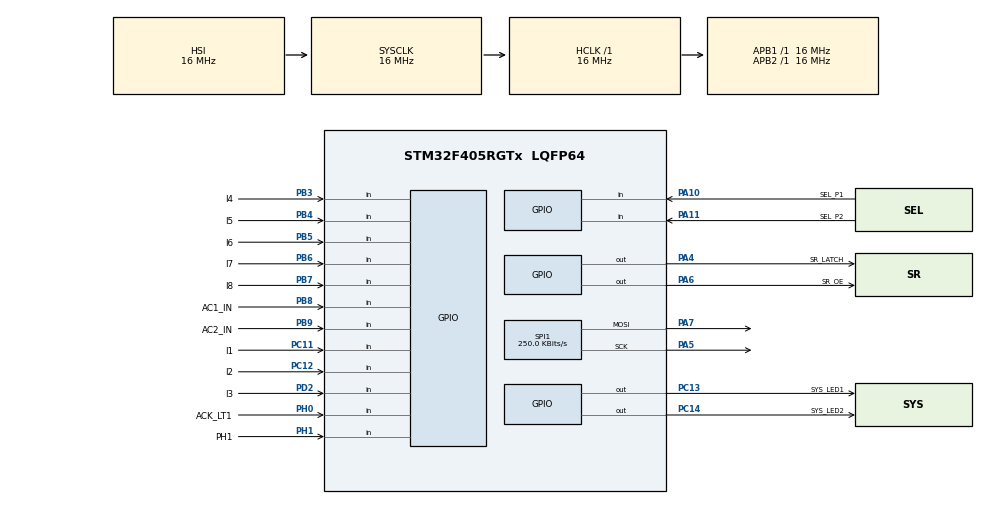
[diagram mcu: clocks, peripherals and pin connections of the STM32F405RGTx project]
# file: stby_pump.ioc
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Mcu.Family=STM32F4
Mcu.Name=STM32F405RGTx
Mcu.Package=LQFP64
NVIC.PriorityGroup=NVIC_PRIORITYGROUP_4
PA10.GPIO_Label=SEL_P1
PA10.GPIO_PuPd=GPIO_PULLUP
PA10.Signal=GPIO_Input
PA11.GPIO_Label=SEL_P2
PA11.GPIO_PuPd=GPIO_PULLUP
PA11.Signal=GPIO_Input
PA13.Mode=Serial_Wire
PA13.Signal=SYS_JTMS-SWDIO
PA14.Mode=Serial_Wire
PA14.Signal=SYS_JTCK-SWCLK
PA4.GPIO_Label=SR_LATCH
PA4.Signal=GPIO_Output
PA5.Mode=TX_Only_Simplex_Unidirect_Master
PA5.Signal=SPI1_SCK
PA6.GPIO_Label=SR_OE
PA6.PinState=GPIO_PIN_SET
PA6.Signal=GPIO_Output
PA7.Mode=TX_Only_Simplex_Unidirect_Master
PA7.Signal=SPI1_MOSI
PB3.GPIO_Label=I4
PB3.Signal=GPIO_Input
PB4.GPIO_Label=I5
PB4.Signal=GPIO_Input
PB5.GPIO_Label=I6
PB5.Signal=GPIO_Input
PB6.GPIO_Label=I7
PB6.Signal=GPIO_Input
PB7.GPIO_Label=I8
PB7.Signal=GPIO_Input
PB8.GPIO_Label=AC1_IN
PB8.Signal=GPIO_Input
PB9.GPIO_Label=AC2_IN
PB9.Signal=GPIO_Input
PC11.GPIO_Label=I1
PC11.Signal=GPIO_Input
PC12.GPIO_Label=I2
PC12.Signal=GPIO_Input
PC13-ANTI_TAMP.GPIO_Label=SYS_LED1
PC13-ANTI_TAMP.Signal=GPIO_Output
PC14-OSC32_IN.GPIO_Label=SYS_LED2
PC14-OSC32_IN.Signal=GPIO_Output
PD2.GPIO_Label=I3
PD2.Signal=GPIO_Input
PH0-OSC_IN.GPIO_Label=ACK_LT1
PH0-OSC_IN.GPIO_PuPd=GPIO_PULLUP
PH0-OSC_IN.Signal=GPIO_Input
PH1-OSC_OUT.GPIO_Label=PH1
PH1-OSC_OUT.GPIO_PuPd=GPIO_PULLUP
PH1-OSC_OUT.Signal=GPIO_Input
ProjectManager.HeapSize=0x200
ProjectManager.StackSize=0x400
ProjectManager.TargetToolchain=STM32CubeIDE
RCC.AHBFreq_Value=16000000
RCC.APB1Freq_Value=16000000
RCC.APB1TimFreq_Value=16000000
RCC.APB2Freq_Value=16000000
RCC.APB2TimFreq_Value=16000000
RCC.CortexFreq_Value=16000000
RCC.HCLKFreq_Value=16000000
RCC.HSE_VALUE=25000000
RCC.HSI_VALUE=16000000
RCC.LSE_VALUE=32768
RCC.SYSCLKFreq_VALUE=16000000
RCC.VCOOutputFreq_Value=192000000
SPI1.BaudRatePrescaler=SPI_BAUDRATEPRESCALER_64
SPI1.CalculateBaudRate=250.0 KBits/s
SPI1.Direction=SPI_DIRECTION_2LINES
SPI1.Mode=SPI_MODE_MASTER
SPI1.VirtualType=VM_MASTER
board=custom

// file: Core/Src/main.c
/* USER CODE BEGIN Header */
/**
 ******************************************************************************
 * @file           : main.c
 * @brief          : Main program body
 ******************************************************************************
 * @attention
 *
 * Copyright (c) 2026 STMicroelectronics.
 * All rights reserved.
 *
 * This software is licensed under terms that can be found in the LICENSE file
 * in the root directory of this software component.
 * If no LICENSE file comes with this software, it is provided AS-IS.
 *
 ******************************************************************************
 */
/* USER CODE END Header */
#include "main.h"

/* USER CODE BEGIN Includes */
#include <string.h>

/* USER CODE END Includes */

/* USER CODE BEGIN PTD */
typedef enum
{
    SELECTOR_OFF = 0,
    SELECTOR_P1,
    SELECTOR_P2,
    SELECTOR_INVALID
} SelectorState_t;

typedef enum
{
    PUMP_STATE_OFF = 0,
    PUMP_STATE_RUNNING
} PumpState_t;

typedef enum
{
    AUTO_STATE_OFF = 0,
    AUTO_STATE_TRY_PRIMARY,
    AUTO_STATE_PRIMARY_RUNNING,
    AUTO_STATE_TRY_SECONDARY,
    AUTO_STATE_SECONDARY_RUNNING,
    AUTO_STATE_ALARM
} AutoState_t;

typedef struct
{
    uint8_t pressure_p1_raw;
    uint8_t rpm_p1_raw;
    uint8_t fb_p1_raw;
    uint8_t pressure_p2_raw;
    uint8_t rpm_p2_raw;
    uint8_t fb_p2_raw;

    uint8_t ac_p1_raw;
    uint8_t ac_p2_raw;

    uint8_t ack_lt1_raw;
    uint8_t sel_p1_raw;
    uint8_t sel_p2_raw;
} RawInputs_t;

typedef struct
{
    uint8_t pressure_p1;
    uint8_t rpm_p1;
    uint8_t fb_p1;
    uint8_t pressure_p2;
    uint8_t rpm_p2;
    uint8_t fb_p2;

    uint8_t ac_p1;
    uint8_t ac_p2;

    uint8_t ack_short;
    uint8_t lamp_test;
    SelectorState_t selector;
} Inputs_t;

typedef struct
{
    uint8_t pump1_cmd;
    uint8_t pump2_cmd;

    uint8_t ind1_system_ready;
    uint8_t ind2_p1_ready;
    uint8_t ind3_p1_on;
    uint8_t ind4_p1_standby;
    uint8_t ind5_p2_ready;
    uint8_t ind6_p2_on;
    uint8_t ind7_p2_standby;
    uint8_t ind8_pressure_low;
    uint8_t ind9_standby_alarm;
} Outputs_t;

typedef struct
{
    PumpState_t state;
    uint32_t state_tick;
} PumpChannel_t;

/* USER CODE END PTD */

/* USER CODE BEGIN PD */

#define INPUT_ACTIVE_STATE GPIO_PIN_SET
#define LED_ON_STATE GPIO_PIN_SET
#define LED_OFF_STATE ((LED_ON_STATE == GPIO_PIN_SET) ? GPIO_PIN_RESET : GPIO_PIN_SET)
#define PIN_IS_ACTIVE(port, pin) (HAL_GPIO_ReadPin((port), (pin)) == (INPUT_ACTIVE_STATE))
#define MAYBE_UNUSED __attribute__((unused))

#define SR_LATCH_GPIO SR_LATCH_GPIO_Port
#define SR_LATCH_PIN SR_LATCH_Pin
#define SR_OE_GPIO SR_OE_GPIO_Port
#define SR_OE_PIN SR_OE_Pin

#define K_ACTIVE_LOW 0

/* ---------------- Configuration ---------------- */
/* Choose one firmware behavior:
   CONTROL_MODE_AUTO   = pressure/RPM-driven automatic controller
   CONTROL_MODE_MANUAL = selector directly forces pump output on/off
   CONTROL_MODE_TEST   = relay and indicator IO test firmware
*/
#define CONTROL_MODE_AUTO 0U
#define CONTROL_MODE_MANUAL 1U
#define CONTROL_MODE_TEST 2U

/* Change only this line to select the firmware behavior. */
#define CONTROL_MODE CONTROL_MODE_AUTO

/* Change this to adjust the output-test repeat time. */
#define OUTPUT_TEST_REPEAT_MS 200U

/* Input polarities: set 1 if active high, 0 if active low */
#define PRESSURE_ACTIVE_LEVEL 0U
#define RPM_ACTIVE_LEVEL 1U
#define AC_ACTIVE_LEVEL 0U
#define FEEDBACK_ACTIVE_LEVEL 0U
#define SELECTOR_ACTIVE_LEVEL 0U
#define ACK_LT1_ACTIVE_LEVEL 0U

/* Timing */
#define LOOP_DELAY_MS 20U
#define T_DEBOUNCE_MS 200U
#define T_RPM_DEBOUNCE_MS 2000U
#define T_ACK_DEBOUNCE_MS 50U
#define T_ACK_LONGPRESS_MS 1500U
#define T_BLINK_MS 500U
#define T_FEEDBACK_TIMEOUT_MS 3000U
#define T_OUTPUT_TEST_STEP_MS OUTPUT_TEST_REPEAT_MS

#define FAULT_P1_FEEDBACK_TIMEOUT_MASK (1UL << 0)
#define FAULT_P2_FEEDBACK_TIMEOUT_MASK (1UL << 1)

/* USER CODE END PD */

SPI_HandleTypeDef hspi1;

/* USER CODE BEGIN PV */

static RawInputs_t g_raw;
static Inputs_t g_in;
static Outputs_t g_out;

static AutoState_t g_auto_state = AUTO_STATE_OFF;
static uint8_t g_alarm_latched = 0;
static uint8_t g_alarm_blink = 0;
static uint32_t g_auto_state_tick = 0U;
static SelectorState_t g_auto_primary_pump = SELECTOR_OFF;
static uint32_t g_auto_failed_mask = 0U;

static uint32_t g_fault_active_mask = 0U;
static uint32_t g_fault_new_mask = 0U;
static uint32_t g_fault_prev_active_mask = 0U;
static uint32_t g_fault_latched_mask = 0U;

static PumpChannel_t g_p1_channel = {PUMP_STATE_OFF, 0U};
static PumpChannel_t g_p2_channel = {PUMP_STATE_OFF, 0U};

static uint8_t g_last_ack_raw = 0;
static uint32_t g_ack_press_tick = 0;
static uint8_t g_lamp_test_active = 0;
static uint8_t g_lamp_test_group_step = 0U;
static uint8_t g_lamp_test_prev_active = 0U;
static uint32_t g_lamp_test_tick = 0U;
static MAYBE_UNUSED uint8_t g_test_relay_step = 0U;
static MAYBE_UNUSED uint8_t g_test_led_step = 0U;
static MAYBE_UNUSED uint32_t g_test_relay_tick = 0U;
static MAYBE_UNUSED uint32_t g_test_led_tick = 0U;
static MAYBE_UNUSED uint8_t g_test_ack_group_size = 1U;
static MAYBE_UNUSED uint8_t g_test_ack_group_index = 0U;
static MAYBE_UNUSED uint8_t g_test_ack_group_pass = 0U;
static MAYBE_UNUSED uint8_t g_test_ack_active_last = 0U;
static uint8_t g_test_sys_led1 = 0U;
static uint8_t g_test_sys_led2 = 0U;

/* Debounced values */
static uint8_t db_pressure_p1 = 0;
static uint8_t db_rpm_p1 = 0;
static uint8_t db_pressure_p2 = 0;
static uint8_t db_rpm_p2 = 0;
static uint8_t db_ac_p1 = 0;
static uint8_t db_ac_p2 = 0;
static uint8_t db_sel_p1 = 0;
static uint8_t db_sel_p2 = 0;
static uint8_t db_fb_p1 = 0;
static uint8_t db_fb_p2 = 0;
static uint8_t db_ack_lt1 = 0;

static uint32_t db_tick_pressure_p1 = 0;
static uint32_t db_tick_rpm_p1 = 0;
static uint32_t db_tick_pressure_p2 = 0;
static uint32_t db_tick_rpm_p2 = 0;
static uint32_t db_tick_ac_p1 = 0;
static uint32_t db_tick_ac_p2 = 0;
static uint32_t db_tick_sel_p1 = 0;
static uint32_t db_tick_sel_p2 = 0;
static uint32_t db_tick_fb_p1 = 0;
static uint32_t db_tick_fb_p2 = 0;
static uint32_t db_tick_ack_lt1 = 0;

/* USER CODE END PV */

void SystemClock_Config(void);
static void MX_GPIO_Init(void);
static void MX_SPI1_Init(void);
/* USER CODE BEGIN PFP */

static void ReadRawInputs(void);
static void ProcessInputs(void);
static void UpdateSysLeds(void);

static void SR_LatchPulse(void);
static void SR_Write24(uint8_t u1, uint8_t u2, uint8_t u3);
static void UpdateOutputs(void);

static uint8_t NormalizeLevel(uint8_t raw_active, uint8_t active_level);
static void DebounceBit(uint8_t raw, uint8_t *db, uint32_t *tick, uint32_t debounce_ms);

static void ClearOutputs(void);
static void RunControlLogic(void);
static MAYBE_UNUSED void RunAutoModeSection(void);
static MAYBE_UNUSED void RunManualModeSection(void);
static MAYBE_UNUSED void RunTestModeSection(void);
static MAYBE_UNUSED void RunOutputTestProgram(void);
static void SetTestIndicatorByOrder(uint8_t index);
static void ApplyLampTestGroupToOutputs(uint8_t group);
static void ApplyLampTestGroupToLedBytes(uint8_t group, uint8_t *led_byte_1, uint8_t *led_byte_2);

static void StopAllPumps(void);
static void EnterPumpChannelState(PumpChannel_t *channel, PumpState_t new_state);
static void PrimeDebouncedInputs(void);

static uint8_t PressureDemandForPump(SelectorState_t pump);
static uint8_t PumpRunRequest(uint8_t pressure_low, uint8_t rpm_active);
static void UpdateAlarmLatch(uint32_t active_mask);
static uint8_t P1Ready(void);
static uint8_t P2Ready(void);
static SelectorState_t OtherPump(SelectorState_t pump);
static uint8_t PumpReady(SelectorState_t pump);
static uint8_t PumpFeedback(SelectorState_t pump);
static uint8_t PumpDemand(SelectorState_t pump);
static uint32_t FeedbackFaultMaskForPump(SelectorState_t pump);
static uint8_t PumpFailedThisCycle(SelectorState_t pump);
static void CommandOnlyPump(SelectorState_t pump);
static void EnterAutoState(AutoState_t new_state);
static void ResetAutoController(void);
static void EnterAutoAlarm(void);

static void ApplyLampTestIfNeeded(void);

/* USER CODE END PFP */

/* USER CODE BEGIN 0 */

static uint8_t NormalizeLevel(uint8_t raw_active, uint8_t active_level)
{
    return active_level ? raw_active : (uint8_t)!raw_active;
}

static void DebounceBit(uint8_t raw, uint8_t *db, uint32_t *tick, uint32_t debounce_ms)
{
    uint32_t now = HAL_GetTick();

    if (raw != *db)
    {
        if ((now - *tick) >= debounce_ms)
        {
            *db = raw;
            *tick = now;
        }
    }
    else
    {
        *tick = now;
    }
}

static void ReadRawInputs(void)
{
    /* DC IO map:
       1 = Output pump 1
       2 = Output pump 2
       3 = Pressure switch pump 1
       4 = RPM switch pump 1
       5 = Feedback pump 1
       6 = Pressure switch pump 2
       7 = RPM switch pump 2
       8 = Feedback pump 2
    */

    g_raw.pressure_p1_raw = PIN_IS_ACTIVE(I3_GPIO_Port, I3_Pin);
    g_raw.rpm_p1_raw = PIN_IS_ACTIVE(I4_GPIO_Port, I4_Pin);
    g_raw.fb_p1_raw = PIN_IS_ACTIVE(I5_GPIO_Port, I5_Pin);

    g_raw.pressure_p2_raw = PIN_IS_ACTIVE(I6_GPIO_Port, I6_Pin);
    g_raw.rpm_p2_raw = PIN_IS_ACTIVE(I7_GPIO_Port, I7_Pin);
    g_raw.fb_p2_raw = PIN_IS_ACTIVE(I8_GPIO_Port, I8_Pin);

    g_raw.ac_p1_raw = PIN_IS_ACTIVE(AC1_IN_GPIO_Port, AC1_IN_Pin);
    g_raw.ac_p2_raw = PIN_IS_ACTIVE(AC2_IN_GPIO_Port, AC2_IN_Pin);

    g_raw.ack_lt1_raw = PIN_IS_ACTIVE(ACK_LT1_GPIO_Port, ACK_LT1_Pin);
    g_raw.sel_p1_raw = PIN_IS_ACTIVE(SEL_P1_GPIO_Port, SEL_P1_Pin);
    g_raw.sel_p2_raw = PIN_IS_ACTIVE(SEL_P2_GPIO_Port, SEL_P2_Pin);
}

static void ProcessInputs(void)
{
    uint32_t now = HAL_GetTick();

    DebounceBit(g_raw.pressure_p1_raw, &db_pressure_p1, &db_tick_pressure_p1, T_DEBOUNCE_MS);
    DebounceBit(g_raw.rpm_p1_raw, &db_rpm_p1, &db_tick_rpm_p1, T_RPM_DEBOUNCE_MS);
    DebounceBit(g_raw.fb_p1_raw, &db_fb_p1, &db_tick_fb_p1, T_DEBOUNCE_MS);
    DebounceBit(g_raw.pressure_p2_raw, &db_pressure_p2, &db_tick_pressure_p2, T_DEBOUNCE_MS);
    DebounceBit(g_raw.rpm_p2_raw, &db_rpm_p2, &db_tick_rpm_p2, T_RPM_DEBOUNCE_MS);
    DebounceBit(g_raw.fb_p2_raw, &db_fb_p2, &db_tick_fb_p2, T_DEBOUNCE_MS);
    db_ac_p1 = g_raw.ac_p1_raw;
    db_tick_ac_p1 = now;
    db_ac_p2 = g_raw.ac_p2_raw;
    db_tick_ac_p2 = now;
    DebounceBit(g_raw.sel_p1_raw, &db_sel_p1, &db_tick_sel_p1, T_DEBOUNCE_MS);
    DebounceBit(g_raw.sel_p2_raw, &db_sel_p2, &db_tick_sel_p2, T_DEBOUNCE_MS);
    DebounceBit(g_raw.ack_lt1_raw, &db_ack_lt1, &db_tick_ack_lt1, T_ACK_DEBOUNCE_MS);

    g_in.pressure_p1 = NormalizeLevel(db_pressure_p1, PRESSURE_ACTIVE_LEVEL);
    g_in.rpm_p1 = NormalizeLevel(db_rpm_p1, RPM_ACTIVE_LEVEL);
    g_in.fb_p1 = NormalizeLevel(db_fb_p1, FEEDBACK_ACTIVE_LEVEL);
    g_in.pressure_p2 = NormalizeLevel(db_pressure_p2, PRESSURE_ACTIVE_LEVEL);
    g_in.rpm_p2 = NormalizeLevel(db_rpm_p2, RPM_ACTIVE_LEVEL);
    g_in.fb_p2 = NormalizeLevel(db_fb_p2, FEEDBACK_ACTIVE_LEVEL);

    g_in.ac_p1 = NormalizeLevel(db_ac_p1, AC_ACTIVE_LEVEL);
    g_in.ac_p2 = NormalizeLevel(db_ac_p2, AC_ACTIVE_LEVEL);

    {
        uint8_t sel1 = NormalizeLevel(db_sel_p1, SELECTOR_ACTIVE_LEVEL);
        uint8_t sel2 = NormalizeLevel(db_sel_p2, SELECTOR_ACTIVE_LEVEL);

        if ((sel1 == 0U) && (sel2 == 0U))
            g_in.selector = SELECTOR_OFF;
        else if ((sel1 == 1U) && (sel2 == 0U))
            g_in.selector = SELECTOR_P1;
        else if ((sel1 == 0U) && (sel2 == 1U))
            g_in.selector = SELECTOR_P2;
        else
            g_in.selector = SELECTOR_INVALID;
    }

    g_in.ack_short = 0U;
    g_in.lamp_test = 0U;

    {
        uint8_t ack_local_now = NormalizeLevel(db_ack_lt1, ACK_LT1_ACTIVE_LEVEL);
        uint8_t ack_any_now = ack_local_now;

        if ((ack_any_now == 1U) && (g_last_ack_raw == 0U))
        {
            g_in.ack_short = 1U;
            g_ack_press_tick = now;
            g_lamp_test_active = 0U;
        }

        if (ack_any_now == 1U)
        {
            if ((now - g_ack_press_tick) >= T_ACK_LONGPRESS_MS)
            {
                g_lamp_test_active = 1U;
            }
        }
        else
        {
            g_lamp_test_active = 0U;
        }

        g_in.lamp_test = g_lamp_test_active;
        g_last_ack_raw = ack_any_now;
    }

    g_alarm_blink = (((now / T_BLINK_MS) & 0x01U) != 0U) ? 1U : 0U;
}

static void UpdateSysLeds(void)
{
#if (CONTROL_MODE == CONTROL_MODE_TEST)
    HAL_GPIO_WritePin(SYS_LED1_GPIO_Port, SYS_LED1_Pin,
                      g_test_sys_led1 ? LED_ON_STATE : LED_OFF_STATE);
    HAL_GPIO_WritePin(SYS_LED2_GPIO_Port, SYS_LED2_Pin,
                      g_test_sys_led2 ? LED_ON_STATE : LED_OFF_STATE);
#else
    HAL_GPIO_WritePin(SYS_LED1_GPIO_Port, SYS_LED1_Pin, LED_OFF_STATE);
    HAL_GPIO_WritePin(SYS_LED2_GPIO_Port, SYS_LED2_Pin,
                      g_alarm_blink ? LED_ON_STATE : LED_OFF_STATE);
#endif
}

static void SR_LatchPulse(void)
{
    HAL_GPIO_WritePin(SR_LATCH_GPIO, SR_LATCH_PIN, GPIO_PIN_SET);
    HAL_GPIO_WritePin(SR_LATCH_GPIO, SR_LATCH_PIN, GPIO_PIN_RESET);
}

static void SR_Write24(uint8_t u1, uint8_t u2, uint8_t u3)
{
    uint8_t tx[3];

    if (K_ACTIVE_LOW)
    {
        u1 = (uint8_t)~u1;
        u2 = (uint8_t)~u2;
        u3 = (uint8_t)~u3;
    }

    /* Physical chain: MCU -> U1 -> U3 -> U6 */
    tx[0] = u3; // U6 = LED2 (farthest)
    tx[1] = u2; // U3 = LED1
    tx[2] = u1; // U1 = relay (nearest)

    /* Disable outputs (OE HIGH) */
    HAL_GPIO_WritePin(SR_OE_GPIO, SR_OE_PIN, GPIO_PIN_SET);

    /* Shift data */
    if (HAL_SPI_Transmit(&hspi1, tx, 3, 10U) != HAL_OK)
    {
        return;
    }

    /* Latch */
    SR_LatchPulse();

    /* Enable outputs (OE LOW) */
    HAL_GPIO_WritePin(SR_OE_GPIO, SR_OE_PIN, GPIO_PIN_RESET);
}

static void ClearOutputs(void)
{
    memset(&g_out, 0, sizeof(g_out));
}

static void StopAllPumps(void)
{
    g_out.pump1_cmd = 0U;
    g_out.pump2_cmd = 0U;
}

static void EnterPumpChannelState(PumpChannel_t *channel, PumpState_t new_state)
{
    if (channel->state != new_state)
    {
        channel->state = new_state;
        channel->state_tick = HAL_GetTick();
    }
}

static void PrimeDebouncedInputs(void)
{
    uint32_t now = HAL_GetTick();

    db_pressure_p1 = g_raw.pressure_p1_raw;
    db_rpm_p1 = g_raw.rpm_p1_raw;
    db_fb_p1 = g_raw.fb_p1_raw;
    db_pressure_p2 = g_raw.pressure_p2_raw;
    db_rpm_p2 = g_raw.rpm_p2_raw;
    db_fb_p2 = g_raw.fb_p2_raw;
    db_ac_p1 = g_raw.ac_p1_raw;
    db_ac_p2 = g_raw.ac_p2_raw;
    db_sel_p1 = g_raw.sel_p1_raw;
    db_sel_p2 = g_raw.sel_p2_raw;
    db_ack_lt1 = g_raw.ack_lt1_raw;

    db_tick_pressure_p1 = now;
    db_tick_rpm_p1 = now;
    db_tick_fb_p1 = now;
    db_tick_pressure_p2 = now;
    db_tick_rpm_p2 = now;
    db_tick_fb_p2 = now;
    db_tick_ac_p1 = now;
    db_tick_ac_p2 = now;
    db_tick_sel_p1 = now;
    db_tick_sel_p2 = now;
    db_tick_ack_lt1 = now;
}

static uint8_t PressureDemandForPump(SelectorState_t pump)
{
    if (pump == SELECTOR_P1)
        return g_in.pressure_p1;
    if (pump == SELECTOR_P2)
        return g_in.pressure_p2;
    return 0U;
}

static uint8_t PumpRunRequest(uint8_t pressure_low, uint8_t rpm_active)
{
    return (uint8_t)(pressure_low || !rpm_active);
}

static void UpdateAlarmLatch(uint32_t active_mask)
{
    g_fault_new_mask = active_mask & ~g_fault_prev_active_mask;

    if (g_in.ack_short)
    {
        g_fault_latched_mask = 0U;
    }

    g_fault_active_mask = active_mask;
    g_fault_latched_mask |= g_fault_new_mask;
    g_fault_prev_active_mask = active_mask;
    g_alarm_latched = (g_fault_latched_mask != 0U) ? 1U : 0U;
}

static uint8_t P1Ready(void)
{
    return g_in.ac_p1;
}

static uint8_t P2Ready(void)
{
    return g_in.ac_p2;
}

static SelectorState_t OtherPump(SelectorState_t pump)
{
    if (pump == SELECTOR_P1)
    {
        return SELECTOR_P2;
    }

    if (pump == SELECTOR_P2)
    {
        return SELECTOR_P1;
    }

    return SELECTOR_OFF;
}

static uint8_t PumpReady(SelectorState_t pump)
{
    if (pump == SELECTOR_P1)
    {
        return P1Ready();
    }

    if (pump == SELECTOR_P2)
    {
        return P2Ready();
    }

    return 0U;
}

static uint8_t PumpFeedback(SelectorState_t pump)
{
    if (pump == SELECTOR_P1)
    {
        return g_in.fb_p1;
    }

    if (pump == SELECTOR_P2)
    {
        return g_in.fb_p2;
    }

    return 0U;
}

static uint8_t PumpDemand(SelectorState_t pump)
{
    if (pump == SELECTOR_P1)
    {
        return PumpRunRequest(PressureDemandForPump(SELECTOR_P1), g_in.rpm_p1);
    }

    if (pump == SELECTOR_P2)
    {
        return PumpRunRequest(PressureDemandForPump(SELECTOR_P2), g_in.rpm_p2);
    }

    return 0U;
}

static uint32_t FeedbackFaultMaskForPump(SelectorState_t pump)
{
    if (pump == SELECTOR_P1)
    {
        return FAULT_P1_FEEDBACK_TIMEOUT_MASK;
    }

    if (pump == SELECTOR_P2)
    {
        return FAULT_P2_FEEDBACK_TIMEOUT_MASK;
    }

    return 0U;
}

static uint8_t PumpFailedThisCycle(SelectorState_t pump)
{
    return ((g_auto_failed_mask & FeedbackFaultMaskForPump(pump)) != 0U) ? 1U : 0U;
}

static void CommandOnlyPump(SelectorState_t pump)
{
    g_out.pump1_cmd = (pump == SELECTOR_P1) ? 1U : 0U;
    g_out.pump2_cmd = (pump == SELECTOR_P2) ? 1U : 0U;
}

static void EnterAutoState(AutoState_t new_state)
{
    if (g_auto_state != new_state)
    {
        g_auto_state = new_state;
        g_auto_state_tick = HAL_GetTick();
    }
}

static void ResetAutoController(void)
{
    g_auto_state = AUTO_STATE_OFF;
    g_auto_state_tick = HAL_GetTick();
    g_auto_primary_pump = SELECTOR_OFF;
    g_auto_failed_mask = 0U;
    g_fault_latched_mask = 0U;
    g_alarm_latched = 0U;
    g_fault_active_mask = 0U;
    g_fault_new_mask = 0U;
    g_fault_prev_active_mask = 0U;
}

static void EnterAutoAlarm(void)
{
    StopAllPumps();
    g_fault_latched_mask = g_auto_failed_mask;
    g_alarm_latched = (g_fault_latched_mask != 0U) ? 1U : 0U;
    EnterAutoState(AUTO_STATE_ALARM);
}

static void SetTestIndicatorByOrder(uint8_t index)
{
    switch (index)
    {
    case 0:
        g_out.ind1_system_ready = 1U; /* IND9  */
        break;
    case 1:
        g_out.ind2_p1_ready = 1U;     /* IND1  */
        break;
    case 2:
        g_out.ind3_p1_on = 1U;        /* IND10 */
        break;
    case 3:
        g_out.ind4_p1_standby = 1U;   /* IND2  */
        break;
    case 4:
        g_out.ind5_p2_ready = 1U;     /* IND11 */
        break;
    case 5:
        g_out.ind6_p2_on = 1U;        /* IND3  */
        break;
    case 6:
        g_out.ind7_p2_standby = 1U;   /* IND12 */
        break;
    case 7:
        g_out.ind8_pressure_low = 1U; /* IND4  */
        break;
    case 8:
    default:
        g_out.ind9_standby_alarm = 1U; /* IND13 */
        break;
    }
}

static void ApplyLampTestGroupToOutputs(uint8_t group)
{
    uint8_t start_index = (uint8_t)(group * 3U);
    uint8_t i;

    g_out.ind1_system_ready = 0U;
    g_out.ind2_p1_ready = 0U;
    g_out.ind3_p1_on = 0U;
    g_out.ind4_p1_standby = 0U;
    g_out.ind5_p2_ready = 0U;
    g_out.ind6_p2_on = 0U;
    g_out.ind7_p2_standby = 0U;
    g_out.ind8_pressure_low = 0U;
    g_out.ind9_standby_alarm = 0U;

    for (i = 0U; i < 3U; i++)
    {
        uint8_t led_index = (uint8_t)(start_index + i);
        if (led_index >= 9U)
        {
            break;
        }

        SetTestIndicatorByOrder(led_index);
    }
}

static void ApplyLampTestGroupToLedBytes(uint8_t group, uint8_t *led_byte_1, uint8_t *led_byte_2)
{
    switch (group)
    {
    case 0:
    default:
        *led_byte_2 |= (1U << 0); /* IND9  */
        *led_byte_1 |= (1U << 0); /* IND1  */
        *led_byte_2 |= (1U << 1); /* IND10 */
        break;
    case 1:
        *led_byte_1 |= (1U << 1); /* IND2  */
        *led_byte_2 |= (1U << 2); /* IND11 */
        *led_byte_1 |= (1U << 2); /* IND3  */
        break;
    case 2:
        *led_byte_2 |= (1U << 3); /* IND12 */
        *led_byte_1 |= (1U << 3); /* IND4  */
        *led_byte_2 |= (1U << 4); /* IND13 */
        break;
    }
}

static void RunOutputTestProgram(void)
{
    uint32_t now = HAL_GetTick();
    uint8_t ack_active = NormalizeLevel(db_ack_lt1, ACK_LT1_ACTIVE_LEVEL);

    g_test_sys_led1 = 0U;
    g_test_sys_led2 = 0U;
    g_fault_active_mask = 0U;
    g_fault_new_mask = 0U;
    g_fault_prev_active_mask = 0U;
    g_fault_latched_mask = 0U;
    g_alarm_latched = 0U;

    if ((ack_active == 0U) && ((now - g_test_relay_tick) >= T_OUTPUT_TEST_STEP_MS))
    {
        g_test_relay_tick = now;
        g_test_relay_step = (uint8_t)((g_test_relay_step + 1U) % 3U);
    }

    if (ack_active == 0U)
    {
        switch (g_test_relay_step)
        {
        case 0:
            g_out.pump1_cmd = 1U;
            break;
        case 1:
            g_out.pump2_cmd = 1U;
            break;
        case 2:
        default:
            /* 200 ms break before the relay sequence repeats. */
            break;
        }
    }

    if (ack_active != 0U)
    {
        uint8_t num_groups;
        uint8_t start_index;
        uint8_t i;

        if (g_test_ack_active_last == 0U)
        {
            g_test_ack_group_size = 1U;
            g_test_ack_group_index = 0U;
            g_test_ack_group_pass = 0U;
            g_test_led_tick = now;
        }

        if ((now - g_test_led_tick) >= T_OUTPUT_TEST_STEP_MS)
        {
            g_test_led_tick = now;

            num_groups = (uint8_t)((9U + g_test_ack_group_size - 1U) / g_test_ack_group_size);
            g_test_ack_group_index++;

            if (g_test_ack_group_index >= num_groups)
            {
                g_test_ack_group_index = 0U;
                g_test_ack_group_pass++;

                if (g_test_ack_group_pass >= 2U)
                {
                    g_test_ack_group_pass = 0U;
                    g_test_ack_group_size++;

                    if (g_test_ack_group_size > 9U)
                    {
                        g_test_ack_group_size = 1U;
                    }
                }
            }
        }

        start_index = (uint8_t)(g_test_ack_group_index * g_test_ack_group_size);
        for (i = 0U; i < g_test_ack_group_size; i++)
        {
            uint8_t led_index = (uint8_t)(start_index + i);
            if (led_index >= 9U)
            {
                break;
            }

            SetTestIndicatorByOrder(led_index);
        }
    }
    else if (g_in.pressure_p1)
    {
        g_out.ind1_system_ready = 1U;  /* IO3 -> IND9 */
    }
    else if (g_in.rpm_p1)
    {
        g_out.ind2_p1_ready = 1U;      /* IO4 -> IND1 */
    }
    else if (g_in.fb_p1)
    {
        g_out.ind3_p1_on = 1U;         /* IO5 -> IND10 */
    }
    else if (g_in.pressure_p2)
    {
        g_out.ind4_p1_standby = 1U;    /* IO6 -> IND2 */
    }
    else if (g_in.rpm_p2)
    {
        g_out.ind5_p2_ready = 1U;      /* IO7 -> IND11 */
    }
    else if (g_in.fb_p2)
    {
        g_out.ind6_p2_on = 1U;         /* IO8 -> IND3 */
    }
    else
    {
        if ((now - g_test_led_tick) >= T_OUTPUT_TEST_STEP_MS)
        {
            g_test_led_tick = now;
            g_test_led_step = (uint8_t)((g_test_led_step + 1U) % 9U);
        }
        SetTestIndicatorByOrder(g_test_led_step);
    }

    g_test_ack_active_last = ack_active;
}

static void RunControlLogic(void)
{
    ClearOutputs();

#if (CONTROL_MODE == CONTROL_MODE_TEST)
    RunTestModeSection();
#elif (CONTROL_MODE == CONTROL_MODE_MANUAL)
    RunManualModeSection();
#else
    RunAutoModeSection();
#endif
}

static MAYBE_UNUSED void RunAutoModeSection(void)
{
    SelectorState_t secondary_pump = OtherPump(g_auto_primary_pump);
    uint8_t demand_active = PumpDemand(g_auto_primary_pump);
    uint8_t selector_changed = 0U;

    g_fault_active_mask = 0U;
    g_fault_new_mask = 0U;
    g_fault_prev_active_mask = 0U;
    g_alarm_latched = (g_fault_latched_mask != 0U) ? 1U : 0U;

    if ((g_auto_state != AUTO_STATE_OFF) && (g_auto_state != AUTO_STATE_ALARM))
    {
        selector_changed = (g_in.selector != g_auto_primary_pump) ? 1U : 0U;
    }

    switch (g_auto_state)
    {
    case AUTO_STATE_OFF:
        StopAllPumps();
        g_fault_latched_mask = 0U;
        g_alarm_latched = 0U;
        g_auto_failed_mask = 0U;
        g_auto_primary_pump = SELECTOR_OFF;

        if ((g_in.selector == SELECTOR_P1) || (g_in.selector == SELECTOR_P2))
        {
            SelectorState_t primary_pump = g_in.selector;
            SelectorState_t fallback_pump = OtherPump(primary_pump);

            if (PumpDemand(primary_pump))
            {
                if (PumpReady(primary_pump))
                {
                    g_auto_primary_pump = primary_pump;
                    CommandOnlyPump(primary_pump);
                    EnterAutoState(AUTO_STATE_TRY_PRIMARY);
                }
                else if (PumpReady(fallback_pump))
                {
                    g_auto_primary_pump = primary_pump;
                    CommandOnlyPump(fallback_pump);
                    EnterAutoState(AUTO_STATE_TRY_SECONDARY);
                }
            }
        }
        break;

    case AUTO_STATE_TRY_PRIMARY:
        if (selector_changed || !demand_active)
        {
            StopAllPumps();
            ResetAutoController();
        }
        else if (PumpFeedback(g_auto_primary_pump))
        {
            CommandOnlyPump(g_auto_primary_pump);
            EnterAutoState(AUTO_STATE_PRIMARY_RUNNING);
        }
        else if ((HAL_GetTick() - g_auto_state_tick) >= T_FEEDBACK_TIMEOUT_MS)
        {
            g_auto_failed_mask |= FeedbackFaultMaskForPump(g_auto_primary_pump);

            if (PumpReady(secondary_pump) && !PumpFailedThisCycle(secondary_pump))
            {
                CommandOnlyPump(secondary_pump);
                EnterAutoState(AUTO_STATE_TRY_SECONDARY);
            }
            else
            {
                EnterAutoAlarm();
            }
        }
        else
        {
            CommandOnlyPump(g_auto_primary_pump);
        }
        break;

    case AUTO_STATE_PRIMARY_RUNNING:
        if (selector_changed || !demand_active)
        {
            StopAllPumps();
            ResetAutoController();
        }
        else if (PumpFeedback(g_auto_primary_pump))
        {
            CommandOnlyPump(g_auto_primary_pump);
        }
        else
        {
            g_auto_failed_mask |= FeedbackFaultMaskForPump(g_auto_primary_pump);

            if (PumpReady(secondary_pump) && !PumpFailedThisCycle(secondary_pump))
            {
                CommandOnlyPump(secondary_pump);
                EnterAutoState(AUTO_STATE_TRY_SECONDARY);
            }
            else
            {
                EnterAutoAlarm();
            }
        }
        break;

    case AUTO_STATE_TRY_SECONDARY:
        if (selector_changed || !demand_active)
        {
            StopAllPumps();
            ResetAutoController();
        }
        else if (PumpFeedback(secondary_pump))
        {
            CommandOnlyPump(secondary_pump);
            EnterAutoState(AUTO_STATE_SECONDARY_RUNNING);
        }
        else if ((HAL_GetTick() - g_auto_state_tick) >= T_FEEDBACK_TIMEOUT_MS)
        {
            g_auto_failed_mask |= FeedbackFaultMaskForPump(secondary_pump);
            EnterAutoAlarm();
        }
        else
        {
            CommandOnlyPump(secondary_pump);
        }
        break;

    case AUTO_STATE_SECONDARY_RUNNING:
        if (selector_changed || !demand_active)
        {
            StopAllPumps();
            ResetAutoController();
        }
        else if (PumpFeedback(secondary_pump))
        {
            CommandOnlyPump(secondary_pump);
        }
        else
        {
            g_auto_failed_mask |= FeedbackFaultMaskForPump(secondary_pump);

            if (PumpReady(g_auto_primary_pump) && !PumpFailedThisCycle(g_auto_primary_pump))
            {
                CommandOnlyPump(g_auto_primary_pump);
                EnterAutoState(AUTO_STATE_TRY_PRIMARY);
            }
            else
            {
                EnterAutoAlarm();
            }
        }
        break;

    case AUTO_STATE_ALARM:
    default:
        StopAllPumps();
        if (g_in.ack_short)
        {
            ResetAutoController();
        }
        break;
    }

    g_out.ind1_system_ready = 1U;
    g_out.ind2_p1_ready = P1Ready();
    g_out.ind3_p1_on = g_in.fb_p1;
    g_out.ind4_p1_standby = (g_in.selector == SELECTOR_P1) ? 1U : 0U;
    g_out.ind5_p2_ready = P2Ready();
    g_out.ind6_p2_on = g_in.fb_p2;
    g_out.ind7_p2_standby = (g_in.selector == SELECTOR_P2) ? 1U : 0U;
    g_out.ind8_pressure_low = (uint8_t)(g_in.pressure_p1 || g_in.pressure_p2);
    g_out.ind9_standby_alarm =
        (((g_fault_latched_mask & (FAULT_P1_FEEDBACK_TIMEOUT_MASK | FAULT_P2_FEEDBACK_TIMEOUT_MASK)) != 0U) &&
         g_alarm_blink)
            ? 1U
            : 0U;

    ApplyLampTestIfNeeded();
}

static MAYBE_UNUSED void RunManualModeSection(void)
{
    uint8_t pump1_selected = (g_in.selector == SELECTOR_P1) ? 1U : 0U;
    uint8_t pump2_selected = (g_in.selector == SELECTOR_P2) ? 1U : 0U;

    g_fault_active_mask = 0U;
    g_fault_new_mask = 0U;
    g_fault_prev_active_mask = 0U;
    g_fault_latched_mask = 0U;
    g_alarm_latched = 0U;

    if (pump1_selected)
    {
        g_out.pump1_cmd = 1U;
        EnterPumpChannelState(&g_p1_channel, PUMP_STATE_RUNNING);
    }
    else
    {
        g_out.pump1_cmd = 0U;
        EnterPumpChannelState(&g_p1_channel, PUMP_STATE_OFF);
    }

    if (pump2_selected)
    {
        g_out.pump2_cmd = 1U;
        EnterPumpChannelState(&g_p2_channel, PUMP_STATE_RUNNING);
    }
    else
    {
        g_out.pump2_cmd = 0U;
        EnterPumpChannelState(&g_p2_channel, PUMP_STATE_OFF);
    }

    g_out.ind1_system_ready = 1U;
    g_out.ind2_p1_ready = g_in.ac_p1;
    g_out.ind3_p1_on = g_in.fb_p1;
    g_out.ind4_p1_standby = pump1_selected;
    g_out.ind5_p2_ready = g_in.ac_p2;
    g_out.ind6_p2_on = g_in.fb_p2;
    g_out.ind7_p2_standby = pump2_selected;
    g_out.ind8_pressure_low = (uint8_t)(g_in.pressure_p1 || g_in.pressure_p2);
    g_out.ind9_standby_alarm = 0U;

    ApplyLampTestIfNeeded();
}

static MAYBE_UNUSED void RunTestModeSection(void)
{
    UpdateAlarmLatch(0U);
    RunOutputTestProgram();
    ApplyLampTestIfNeeded();
}

static void ApplyLampTestIfNeeded(void)
{
    if (g_in.lamp_test)
    {
        uint32_t now = HAL_GetTick();

        if (g_lamp_test_prev_active == 0U)
        {
            g_lamp_test_group_step = 0U;
            g_lamp_test_tick = now;
        }
        else if ((now - g_lamp_test_tick) >= T_OUTPUT_TEST_STEP_MS)
        {
            g_lamp_test_tick = now;
            g_lamp_test_group_step = (uint8_t)((g_lamp_test_group_step + 1U) % 3U);
        }

        ApplyLampTestGroupToOutputs(g_lamp_test_group_step);
        g_lamp_test_prev_active = 1U;
    }
    else
    {
        g_lamp_test_prev_active = 0U;
    }
}

static void UpdateOutputs(void)
{
    uint8_t relay_byte = 0U;
    uint8_t led_byte_1 = 0U; /* U3 = IND1..IND8 */
    uint8_t led_byte_2 = 0U; /* U6 = IND9..IND16 */

    /* DC output order:
       Q1 = Output pump 1
       Q2 = Output pump 2
       Q3 = unused / reserved
    */

    /* Relay board wiring is reversed: QA..QH drive Q8..Q1 through the ULN stage. */
    if (g_out.pump1_cmd)
        relay_byte |= (1U << 7); /* Q1 = Output pump 1 */
    if (g_out.pump2_cmd)
        relay_byte |= (1U << 6); /* Q2 = Output pump 2 */

    /* U3 : IND1..IND8 */
    if (g_out.ind2_p1_ready)
        led_byte_1 |= (1U << 0); /* IND1  */
    if (g_out.ind4_p1_standby)
        led_byte_1 |= (1U << 1); /* IND2  */
    if (g_out.ind6_p2_on)
        led_byte_1 |= (1U << 2); /* IND3  */
    if (g_out.ind8_pressure_low)
        led_byte_1 |= (1U << 3); /* IND4  */

    /* U6 : IND9..IND16 */
    if (g_out.ind1_system_ready)
        led_byte_2 |= (1U << 0); /* IND9  */
    if (g_out.ind3_p1_on)
        led_byte_2 |= (1U << 1); /* IND10 */
    if (g_out.ind5_p2_ready)
        led_byte_2 |= (1U << 2); /* IND11 */
    if (g_out.ind7_p2_standby)
        led_byte_2 |= (1U << 3); /* IND12 */
    if (g_out.ind9_standby_alarm)
        led_byte_2 |= (1U << 4); /* IND13 */

    if (g_in.lamp_test)
    {
        led_byte_1 = 0U;
        led_byte_2 = 0U;
        ApplyLampTestGroupToLedBytes(g_lamp_test_group_step, &led_byte_1, &led_byte_2);
    }

    SR_Write24(relay_byte, led_byte_1, led_byte_2);
}

/* USER CODE END 0 */

int main(void)
{

  /* MCU Configuration--------------------------------------------------------*/

  /* Reset of all peripherals, Initializes the Flash interface and the Systick. */
  HAL_Init();

  /* Configure the system clock */
  SystemClock_Config();

  /* Initialize all configured peripherals */
  MX_GPIO_Init();
  MX_SPI1_Init();
  /* USER CODE BEGIN 2 */

    ReadRawInputs();
    PrimeDebouncedInputs();
    ProcessInputs();
    SR_Write24(0U, 0U, 0U);

  /* USER CODE END 2 */

  /* Infinite loop */
    while (1)
    {

    /* USER CODE BEGIN 3 */
        ReadRawInputs();
        ProcessInputs();
        RunControlLogic();
        UpdateOutputs();
        UpdateSysLeds();
        HAL_Delay(LOOP_DELAY_MS);
    }
  /* USER CODE END 3 */
}

void SystemClock_Config(void)
{
  RCC_OscInitTypeDef RCC_OscInitStruct = {0};
  RCC_ClkInitTypeDef RCC_ClkInitStruct = {0};

  /** Configure the main internal regulator output voltage
  */
  __HAL_RCC_PWR_CLK_ENABLE();
  __HAL_PWR_VOLTAGESCALING_CONFIG(PWR_REGULATOR_VOLTAGE_SCALE1);

  /** Initializes the RCC Oscillators according to the specified parameters
  * in the RCC_OscInitTypeDef structure.
  */
  RCC_OscInitStruct.OscillatorType = RCC_OSCILLATORTYPE_HSI;
  RCC_OscInitStruct.HSIState = RCC_HSI_ON;
  RCC_OscInitStruct.HSICalibrationValue = RCC_HSICALIBRATION_DEFAULT;
  RCC_OscInitStruct.PLL.PLLState = RCC_PLL_NONE;
  if (HAL_RCC_OscConfig(&RCC_OscInitStruct) != HAL_OK)
  {
    Error_Handler();
  }

  /** Initializes the CPU, AHB and APB buses clocks
  */
  RCC_ClkInitStruct.ClockType = RCC_CLOCKTYPE_HCLK|RCC_CLOCKTYPE_SYSCLK
                              |RCC_CLOCKTYPE_PCLK1|RCC_CLOCKTYPE_PCLK2;
  RCC_ClkInitStruct.SYSCLKSource = RCC_SYSCLKSOURCE_HSI;
  RCC_ClkInitStruct.AHBCLKDivider = RCC_SYSCLK_DIV1;
  RCC_ClkInitStruct.APB1CLKDivider = RCC_HCLK_DIV1;
  RCC_ClkInitStruct.APB2CLKDivider = RCC_HCLK_DIV1;

  if (HAL_RCC_ClockConfig(&RCC_ClkInitStruct, FLASH_LATENCY_0) != HAL_OK)
  {
    Error_Handler();
  }
}

static void MX_SPI1_Init(void)
{

  /* SPI1 parameter configuration*/
  hspi1.Instance = SPI1;
  hspi1.Init.Mode = SPI_MODE_MASTER;
  hspi1.Init.Direction = SPI_DIRECTION_2LINES;
  hspi1.Init.DataSize = SPI_DATASIZE_8BIT;
  hspi1.Init.CLKPolarity = SPI_POLARITY_LOW;
  hspi1.Init.CLKPhase = SPI_PHASE_1EDGE;
  hspi1.Init.NSS = SPI_NSS_SOFT;
  hspi1.Init.BaudRatePrescaler = SPI_BAUDRATEPRESCALER_64;
  hspi1.Init.FirstBit = SPI_FIRSTBIT_MSB;
  hspi1.Init.TIMode = SPI_TIMODE_DISABLE;
  hspi1.Init.CRCCalculation = SPI_CRCCALCULATION_DISABLE;
  hspi1.Init.CRCPolynomial = 10;
  if (HAL_SPI_Init(&hspi1) != HAL_OK)
  {
    Error_Handler();
  }

}

static void MX_GPIO_Init(void)
{
  GPIO_InitTypeDef GPIO_InitStruct = {0};

  /* GPIO Ports Clock Enable */
  __HAL_RCC_GPIOC_CLK_ENABLE();
  __HAL_RCC_GPIOH_CLK_ENABLE();
  __HAL_RCC_GPIOA_CLK_ENABLE();
  __HAL_RCC_GPIOD_CLK_ENABLE();
  __HAL_RCC_GPIOB_CLK_ENABLE();

  /*Configure GPIO pin Output Level */
  HAL_GPIO_WritePin(GPIOC, SYS_LED1_Pin|SYS_LED2_Pin, GPIO_PIN_RESET);

  /*Configure GPIO pin Output Level */
  HAL_GPIO_WritePin(SR_LATCH_GPIO_Port, SR_LATCH_Pin, GPIO_PIN_RESET);

  /*Configure GPIO pin Output Level */
  HAL_GPIO_WritePin(SR_OE_GPIO_Port, SR_OE_Pin, GPIO_PIN_SET);

  /*Configure GPIO pins : SYS_LED1_Pin SYS_LED2_Pin */
  GPIO_InitStruct.Pin = SYS_LED1_Pin|SYS_LED2_Pin;
  GPIO_InitStruct.Mode = GPIO_MODE_OUTPUT_PP;
  GPIO_InitStruct.Pull = GPIO_NOPULL;
  GPIO_InitStruct.Speed = GPIO_SPEED_FREQ_LOW;
  HAL_GPIO_Init(GPIOC, &GPIO_InitStruct);

  /*Configure GPIO pins : ACK_LT1_Pin PH1_Pin */
  GPIO_InitStruct.Pin = ACK_LT1_Pin|PH1_Pin;
  GPIO_InitStruct.Mode = GPIO_MODE_INPUT;
  GPIO_InitStruct.Pull = GPIO_PULLUP;
  HAL_GPIO_Init(GPIOH, &GPIO_InitStruct);

  /*Configure GPIO pins : SR_LATCH_Pin SR_OE_Pin */
  GPIO_InitStruct.Pin = SR_LATCH_Pin|SR_OE_Pin;
  GPIO_InitStruct.Mode = GPIO_MODE_OUTPUT_PP;
  GPIO_InitStruct.Pull = GPIO_NOPULL;
  GPIO_InitStruct.Speed = GPIO_SPEED_FREQ_LOW;
  HAL_GPIO_Init(GPIOA, &GPIO_InitStruct);

  /*Configure GPIO pins : SEL_P1_Pin SEL_P2_Pin */
  GPIO_InitStruct.Pin = SEL_P1_Pin|SEL_P2_Pin;
  GPIO_InitStruct.Mode = GPIO_MODE_INPUT;
  GPIO_InitStruct.Pull = GPIO_PULLUP;
  HAL_GPIO_Init(GPIOA, &GPIO_InitStruct);

  /*Configure GPIO pins : I1_Pin I2_Pin */
  GPIO_InitStruct.Pin = I1_Pin|I2_Pin;
  GPIO_InitStruct.Mode = GPIO_MODE_INPUT;
  GPIO_InitStruct.Pull = GPIO_NOPULL;
  HAL_GPIO_Init(GPIOC, &GPIO_InitStruct);

  /*Configure GPIO pin : I3_Pin */
  GPIO_InitStruct.Pin = I3_Pin;
  GPIO_InitStruct.Mode = GPIO_MODE_INPUT;
  GPIO_InitStruct.Pull = GPIO_NOPULL;
  HAL_GPIO_Init(I3_GPIO_Port, &GPIO_InitStruct);

  /*Configure GPIO pins : I4_Pin I5_Pin I6_Pin I7_Pin
                           I8_Pin AC1_IN_Pin AC2_IN_Pin */
  GPIO_InitStruct.Pin = I4_Pin|I5_Pin|I6_Pin|I7_Pin
                          |I8_Pin|AC1_IN_Pin|AC2_IN_Pin;
  GPIO_InitStruct.Mode = GPIO_MODE_INPUT;
  GPIO_InitStruct.Pull = GPIO_NOPULL;
  HAL_GPIO_Init(GPIOB, &GPIO_InitStruct);

}

void Error_Handler(void)
{
    __disable_irq();
    while (1)
    {
    }
}
